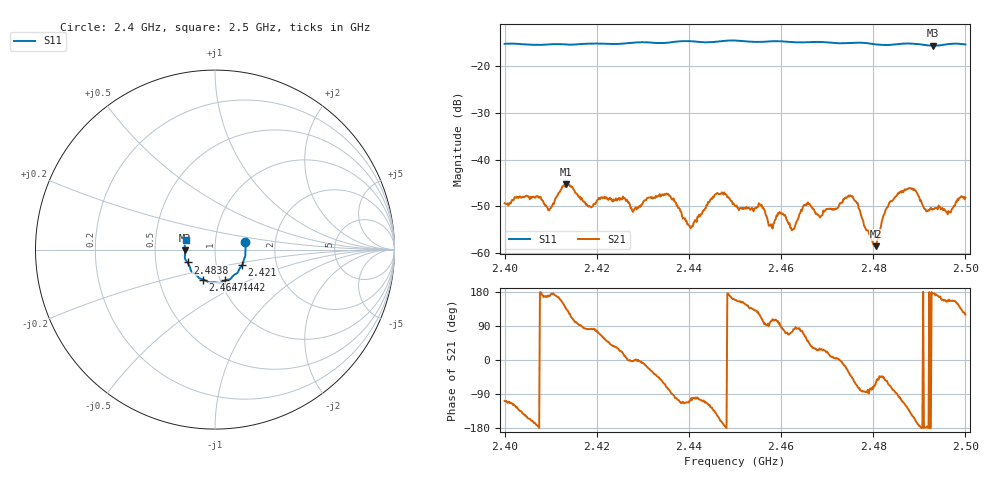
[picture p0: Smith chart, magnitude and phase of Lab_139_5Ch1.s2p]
# Hz S RI R 50
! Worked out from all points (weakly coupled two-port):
!   601 points, 2.4 GHz to 2.5 GHz, reference 50 ohm
!   highest |S21| = -45.30 dB at 2.4133 GHz (marker M1); lowest = -58.5 dB at 2.4805 GHz (marker M2)
!   lowest |S11| = -15.6 dB at 2.493 GHz (marker M3), VSWR 1.40, Z = 35.8 - j0.232 ohm
!   |S11| at or under -10 dB: start of sweep to end of sweep
!   S12 and S22 are empty: the file has one direction only
!   S11 on the Smith chart (normalised r, x): 2.4 GHz: 1.40, +0.12; 2.421 GHz: 1.33, -0.24; 2.4442 GHz: 1.05, -0.37; 2.4647 GHz: 0.83, -0.29; 2.4838 GHz: 0.73, -0.11; 2.5 GHz: 0.72, +0.08
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2.4e9  0.1683 0.041  -0.00105 -0.00325  0 0  0 0
2.409833e9  0.1692 -0.0271  -0.00293 0.000528  0 0  0 0
2.413333e9  0.1645 -0.046  -0.0039 0.00379  0 0  0 0
2.416667e9  0.1588 -0.0681  6.14e-05 0.00391  0 0  0 0
2.421e9  0.1505 -0.0879  0.0017 0.00358  0 0  0 0
2.428167e9  0.1282 -0.1246  0.00294 -3.53e-05  0 0  0 0
2.433333e9  0.108 -0.1399  0.00288 -0.00291  0 0  0 0
2.440333e9  0.0809 -0.1666  -0.000528 -0.00176  0 0  0 0
2.444167e9  0.0567 -0.171  -0.00157 -0.00316  0 0  0 0
2.4475e9  0.0347 -0.1829  -0.00416 -0.000755  0 0  0 0
2.45e9  0.0247 -0.1867  -0.00297 0.00115  0 0  0 0
2.4625e9  -0.0504 -0.174  0.000444 0.00172  0 0  0 0
2.464667e9  -0.0672 -0.1668  0.000812 0.00291  0 0  0 0
2.466667e9  -0.0803 -0.1626  0.00253 0.00184  0 0  0 0
2.4685e9  -0.088 -0.1588  0.00214 0.00111  0 0  0 0
2.475167e9  -0.1236 -0.1275  0.00301 -0.00276  0 0  0 0
2.4805e9  -0.1384 -0.1008  0.000533 -0.00106  0 0  0 0
2.483333e9  -0.1504 -0.0761  0.0014 -0.00296  0 0  0 0
2.483833e9  -0.1531 -0.0718  0.0012 -0.0034  0 0  0 0
2.488e9  -0.168 -0.048  -0.00365 -0.00333  0 0  0 0
2.493e9  -0.1657 -0.00315  -0.00294 0.000215  0 0  0 0
2.5e9  -0.1627 0.0526  -0.00194 0.0034  0 0  0 0
